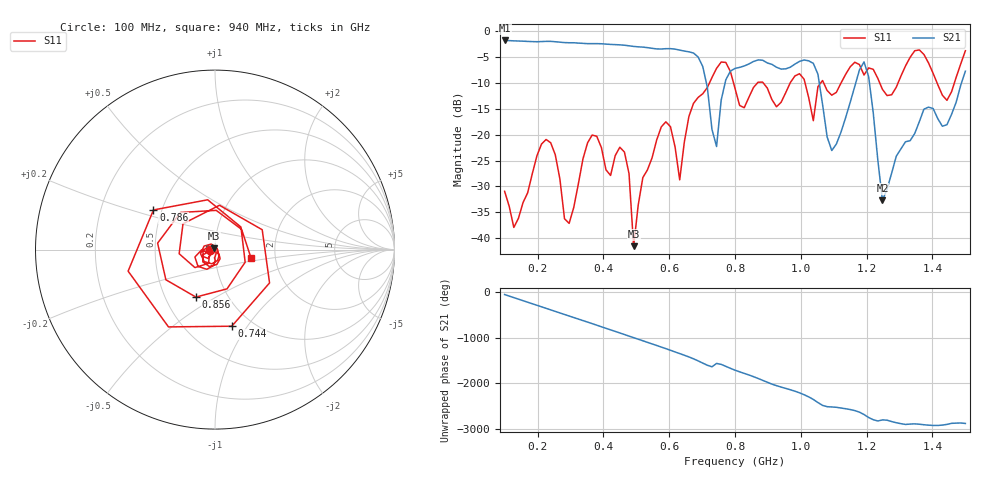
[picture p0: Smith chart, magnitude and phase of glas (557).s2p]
! NanoVNA-App
! Date: 2025-09-25 15:59:48
! Start: 100MHz Stop: 1,5GHz Points: 101
! S-Parameter data: F S11 S21 S12 S22
# Hz S RI R 50
!  Frequency  S11_Real  S11_Imag  S21_Real  S21_Imag  S12_Real  S12_Imag  S22_Real  S22_Imag
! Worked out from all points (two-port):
!   101 points, 100 MHz to 1.5 GHz, reference 50 ohm
!   highest |S21| = -1.80 dB at 100 MHz (marker M1); lowest = -32.7 dB at 1.248 GHz (marker M2)
!   |S21| within 3 dB of the highest: start of sweep to 684.4 MHz
!   lowest |S11| = -41.5 dB at 492 MHz (marker M3), VSWR 1.02, Z = 49.5 + j0.649 ohm
!   |S11| at or under -10 dB: start of sweep to 722.5 MHz; 795.5 MHz to 868.2 MHz (72.64 MHz wide, 8.73 % of centre); 885.9 MHz to 967.7 MHz (81.82 MHz wide, 8.83 % of centre) (the widest 3 of 7)
!   S12 and S22 are empty: the file has one direction only
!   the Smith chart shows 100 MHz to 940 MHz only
!   S11 on the Smith chart (normalised r, x): 100 MHz: 0.95, -0.01; 744 MHz: 0.81, -0.85; 786 MHz: 0.45, +0.24; 856 MHz: 0.71, -0.41; 940 MHz: 1.49, -0.14
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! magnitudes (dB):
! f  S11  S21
! 100 MHz  -30.9  -1.8
! 128 MHz  -37.9  -1.9
! 226 MHz  -20.9  -2.0
! 296 MHz  -37.1  -2.2
! 338 MHz  -24.7  -2.4
! 464 MHz  -23.3  -2.7
! 492 MHz  -41.5  -3.0
! 576 MHz  -18.5  -3.5
! 632 MHz  -28.7  -3.7
! 702 MHz  -12.1  -6.8
! 744 MHz  -7.2  -22.3
! 786 MHz  -7.8  -7.7
! 800 MHz  -11.0  -7.2
! 856 MHz  -10.9  -5.9
! 940 MHz  -13.8  -7.3
! 996 MHz  -8.2  -5.8
! 1.038 GHz  -17.3  -6.2
! 1.094 GHz  -12.4  -23.1
! 1.192 GHz  -8.5  -5.9
! 1.248 GHz  -11.3  -32.7
! 1.276 GHz  -12.3  -27.4
! 1.5 GHz  -3.8  -7.7
